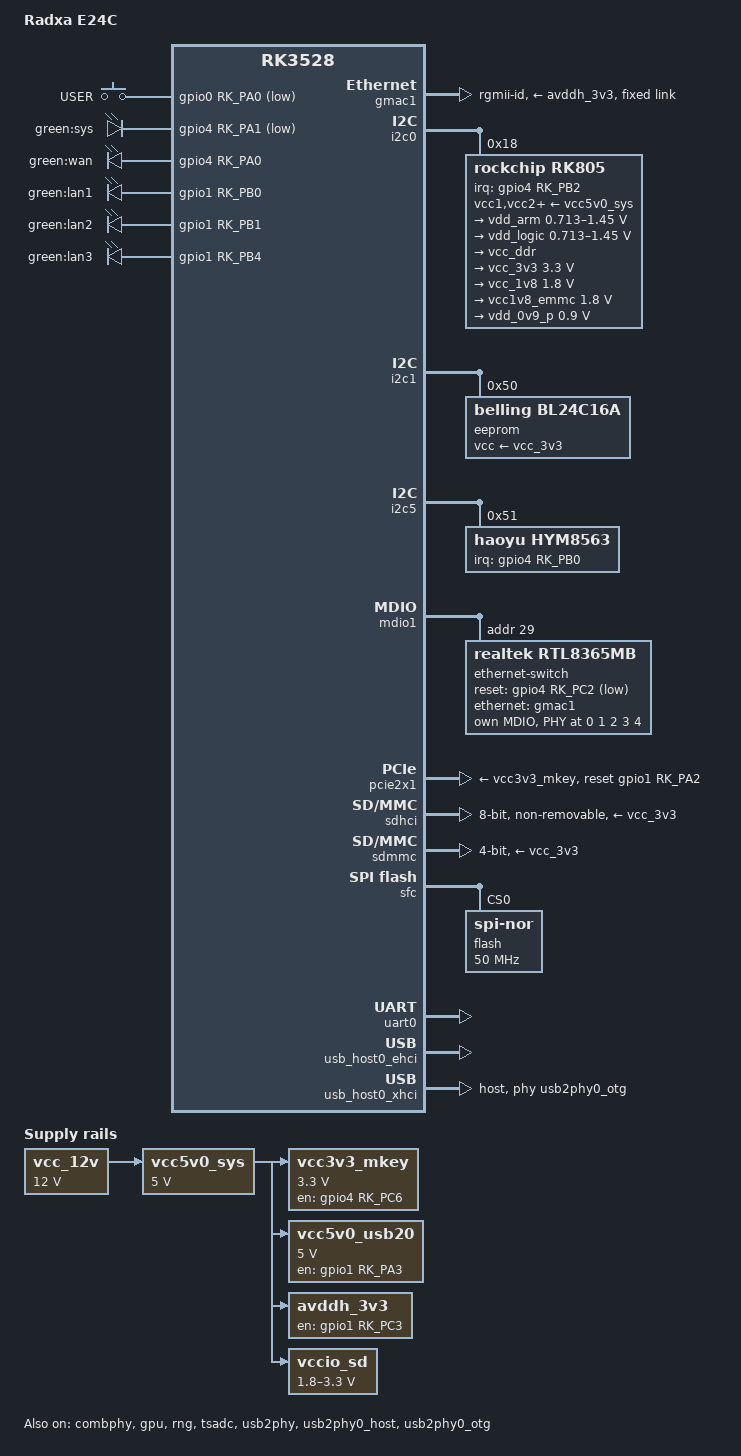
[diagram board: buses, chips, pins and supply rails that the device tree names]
// SPDX-License-Identifier: (GPL-2.0+ OR MIT)

/dts-v1/;

#include <dt-bindings/gpio/gpio.h>
#include <dt-bindings/input/input.h>
#include <dt-bindings/leds/common.h>
#include "rk3528.dtsi"

/ {
	model = "Radxa E24C";
	compatible = "radxa,e24c", "rockchip,rk3528";

	aliases {
		ethernet0 = &gmac1;
		mmc0 = &sdhci;
		mmc1 = &sdmmc;
		rtc0 = &hym8563;

		led-boot = &status_led;
		led-failsafe = &status_led;
		led-running = &status_led;
		led-upgrade = &status_led;
	};

	chosen {
		stdout-path = "serial0:1500000n8";
	};

	gpio-keys {
		compatible = "gpio-keys";
		pinctrl-names = "default";
		pinctrl-0 = <&gpio0_a0_user>;

		button-user {
			label = "USER";
			linux,code = <KEY_RESTART>;
			gpios = <&gpio0 RK_PA0 GPIO_ACTIVE_LOW>;
			wakeup-source;
		};
	};

	leds {
		compatible = "gpio-leds";

		status_led: led-0 {
			label = "green:sys";
			gpios = <&gpio4 RK_PA1 GPIO_ACTIVE_LOW>;
			pinctrl-names = "default";
			pinctrl-0 = <&sys_led_g>;
		};

		led-1 {
			label = "green:wan";
			linux,default-trigger = "netdev";
			gpios = <&gpio4 RK_PA0 GPIO_ACTIVE_HIGH>;
			pinctrl-names = "default";
			pinctrl-0 = <&wan_led_g>;
		};

		led-2 {
			label = "green:lan1";
			linux,default-trigger = "netdev";
			gpios = <&gpio1 RK_PB0 GPIO_ACTIVE_HIGH>;
			pinctrl-names = "default";
			pinctrl-0 = <&lan1_led_g>;
		};

		led-3 {
			label = "green:lan2";
			linux,default-trigger = "netdev";
			gpios = <&gpio1 RK_PB1 GPIO_ACTIVE_HIGH>;
			pinctrl-names = "default";
			pinctrl-0 = <&lan2_led_g>;
		};

		led-4 {
			label = "green:lan3";
			linux,default-trigger = "netdev";
			gpios = <&gpio1 RK_PB4 GPIO_ACTIVE_HIGH>;
			pinctrl-names = "default";
			pinctrl-0 = <&lan3_led_g>;
		};
	};

	vcc_12v: regulator-12v0-vcc {
		compatible = "regulator-fixed";
		regulator-name = "vcc_12v";
		regulator-always-on;
		regulator-boot-on;
		regulator-min-microvolt = <12000000>;
		regulator-max-microvolt = <12000000>;
	};

	vcc3v3_mkey: regulator-3v3-vcc-mkey {
		compatible = "regulator-fixed";
		enable-active-high;
		gpios = <&gpio4 RK_PC6 GPIO_ACTIVE_HIGH>;
		pinctrl-names = "default";
		pinctrl-0 = <&mkey_pwr_en>;
		regulator-name = "vcc3v3_mkey";
		regulator-min-microvolt = <3300000>;
		regulator-max-microvolt = <3300000>;
		vin-supply = <&vcc5v0_sys>;
	};

	vcc5v0_sys: regulator-5v0-vcc-sys {
		compatible = "regulator-fixed";
		regulator-name = "vcc5v0_sys";
		regulator-always-on;
		regulator-boot-on;
		regulator-min-microvolt = <5000000>;
		regulator-max-microvolt = <5000000>;
		vin-supply = <&vcc_12v>;
	};

	vcc5v0_usb20: regulator-5v0-vcc-usb20 {
		compatible = "regulator-fixed";
		enable-active-high;
		gpios = <&gpio1 RK_PA3 GPIO_ACTIVE_HIGH>;
		pinctrl-names = "default";
		pinctrl-0 = <&usb_host_en>;
		regulator-name = "vcc5v0_usb20";
		regulator-min-microvolt = <5000000>;
		regulator-max-microvolt = <5000000>;
		vin-supply = <&vcc5v0_sys>;
	};

	avddh_3v3: regulator-avdd-3v3 {
		compatible = "regulator-fixed";
		enable-active-high;
		gpios = <&gpio1 RK_PC3 GPIO_ACTIVE_HIGH>;
		pinctrl-names = "default";
		pinctrl-0 = <&gpio_8367_en>;
		regulator-name = "avddh_3v3";
		startup-delay-us = <10000>;
		vin-supply = <&vcc5v0_sys>;
	};

	vccio_sd: regulator-vccio-sd {
		compatible = "regulator-gpio";
		gpios = <&gpio4 RK_PB6 GPIO_ACTIVE_HIGH>;
		pinctrl-names = "default";
		pinctrl-0 = <&sdmmc_vol_ctrl_h>;
		regulator-name = "vccio_sd";
		regulator-min-microvolt = <1800000>;
		regulator-max-microvolt = <3300000>;
		states = <1800000 0x0>, <3300000 0x1>;
		vin-supply = <&vcc5v0_sys>;
	};
};

&combphy {
	status = "okay";
};

&cpu0 {
	cpu-supply = <&vdd_arm>;
};

&cpu1 {
	cpu-supply = <&vdd_arm>;
};

&cpu2 {
	cpu-supply = <&vdd_arm>;
};

&cpu3 {
	cpu-supply = <&vdd_arm>;
};

&gmac1 {
	/delete-property/ snps,tso;
	clock_in_out = "output";
	phy-mode = "rgmii-id";
	phy-supply = <&avddh_3v3>;
	pinctrl-names = "default";
	pinctrl-0 = <&rgmii_miim
		     &rgmii_tx_bus2
		     &rgmii_rx_bus2
		     &rgmii_rgmii_clk
		     &rgmii_rgmii_bus>;
	status = "okay";

	fixed-link {
		speed = <1000>;
		full-duplex;
	};
};

&gpu {
	mali-supply = <&vdd_logic>;
	status = "okay";
};

&i2c0 {
	pinctrl-names = "default";
	pinctrl-0 = <&i2c0m0_xfer>;
	status = "okay";

	rk805: pmic@18 {
		compatible = "rockchip,rk805";
		reg = <0x18>;
		interrupt-parent = <&gpio4>;
		interrupts = <RK_PB2 IRQ_TYPE_LEVEL_LOW>;
		#clock-cells = <1>;
		gpio-controller;
		#gpio-cells = <2>;
		pinctrl-names = "default";
		pinctrl-0 = <&pmic_int>;
		system-power-controller;
		wakeup-source;

		vcc1-supply = <&vcc5v0_sys>;
		vcc2-supply = <&vcc5v0_sys>;
		vcc3-supply = <&vcc5v0_sys>;
		vcc4-supply = <&vcc5v0_sys>;
		vcc5-supply = <&vcc5v0_sys>;
		vcc6-supply = <&vcc5v0_sys>;

		regulators {
			vdd_arm: DCDC_REG1 {
				regulator-name = "vdd_arm";
				regulator-always-on;
				regulator-boot-on;
				regulator-min-microvolt = <712500>;
				regulator-max-microvolt = <1450000>;
				regulator-ramp-delay = <12500>;

				regulator-state-mem {
					regulator-on-in-suspend;
				};
			};

			vdd_logic: DCDC_REG2 {
				regulator-name = "vdd_logic";
				regulator-always-on;
				regulator-boot-on;
				regulator-min-microvolt = <712500>;
				regulator-max-microvolt = <1450000>;
				regulator-ramp-delay = <12500>;

				regulator-state-mem {
					regulator-on-in-suspend;
				};
			};

			vcc_ddr: DCDC_REG3 {
				regulator-name = "vcc_ddr";
				regulator-always-on;
				regulator-boot-on;

				regulator-state-mem {
					regulator-on-in-suspend;
				};
			};

			vcc_3v3: DCDC_REG4 {
				regulator-name = "vcc_3v3";
				regulator-always-on;
				regulator-boot-on;
				regulator-min-microvolt = <3300000>;
				regulator-max-microvolt = <3300000>;

				regulator-state-mem {
					regulator-on-in-suspend;
					regulator-suspend-microvolt = <3300000>;
				};
			};

			vcc_1v8: LDO_REG1 {
				regulator-name = "vcc_1v8";
				regulator-always-on;
				regulator-boot-on;
				regulator-min-microvolt = <1800000>;
				regulator-max-microvolt = <1800000>;

				regulator-state-mem {
					regulator-on-in-suspend;
					regulator-suspend-microvolt = <1800000>;
				};
			};

			vcc1v8_emmc: LDO_REG2 {
				regulator-name = "vcc1v8_emmc";
				regulator-always-on;
				regulator-boot-on;
				regulator-min-microvolt = <1800000>;
				regulator-max-microvolt = <1800000>;

				regulator-state-mem {
					regulator-on-in-suspend;
					regulator-suspend-microvolt = <1800000>;
				};
			};

			vdd_0v9_p: LDO_REG3 {
				regulator-name = "vdd_0v9_p";
				regulator-always-on;
				regulator-boot-on;
				regulator-min-microvolt = <900000>;
				regulator-max-microvolt = <900000>;

				regulator-state-mem {
					regulator-on-in-suspend;
					regulator-suspend-microvolt = <900000>;
				};
			};
		};
	};
};

&i2c1 {
	pinctrl-names = "default";
	pinctrl-0 = <&i2c1m0_xfer>;
	status = "okay";

	eeprom@50 {
		compatible = "belling,bl24c16a", "atmel,24c16";
		#address-cells = <1>;
		#size-cells = <1>;
		reg = <0x50>;
		pagesize = <16>;
		read-only;
		vcc-supply = <&vcc_3v3>;

		nvmem-layout {
			compatible = "fixed-layout";
			#address-cells = <1>;
			#size-cells = <1>;

			eth_mac0: macaddr@9e {
				reg = <0x9e 0x06>;
			};

			eth_mac1: macaddr@a4 {
				reg = <0xa4 0x06>;
			};

			eth_mac2: macaddr@aa {
				reg = <0xaa 0x06>;
			};

			eth_mac3: macaddr@b0 {
				reg = <0xb0 0x06>;
			};
		};
	};
};

&i2c5 {
	pinctrl-names = "default";
	pinctrl-0 = <&i2c5m0_xfer>;
	status = "okay";

	hym8563: rtc@51 {
		compatible = "haoyu,hym8563";
		reg = <0x51>;
		#clock-cells = <0>;
		interrupt-parent = <&gpio4>;
		interrupts = <RK_PB0 IRQ_TYPE_LEVEL_LOW>;
		pinctrl-names = "default";
		pinctrl-0 = <&rtc_int_l>;
		wakeup-source;
	};
};

&mdio1 {
	ethernet-switch@29 {
		compatible = "realtek,rtl8365mb";
		reg = <29>;
		reset-gpios = <&gpio4 RK_PC2 GPIO_ACTIVE_LOW>;
		pinctrl-names = "default";
		pinctrl-0 = <&gmac1_rstn_l>;

		switch_intc: interrupt-controller {
			interrupt-parent = <&gpio1>;
			interrupts = <RK_PC2 IRQ_TYPE_LEVEL_LOW>;
			interrupt-controller;
			#address-cells = <0>;
			#interrupt-cells = <1>;
		};

		mdio {
			#address-cells = <1>;
			#size-cells = <0>;

			phy0: ethernet-phy@0 {
				reg = <0>;
				interrupt-parent = <&switch_intc>;
				interrupts = <0>;
			};

			phy1: ethernet-phy@1 {
				reg = <1>;
				interrupt-parent = <&switch_intc>;
				interrupts = <1>;
			};

			phy2: ethernet-phy@2 {
				reg = <2>;
				interrupt-parent = <&switch_intc>;
				interrupts = <2>;
			};

			phy3: ethernet-phy@3 {
				reg = <3>;
				interrupt-parent = <&switch_intc>;
				interrupts = <3>;
			};

			phy4: ethernet-phy@4 {
				reg = <4>;
				interrupt-parent = <&switch_intc>;
				interrupts = <4>;
			};
		};

		ethernet-ports {
			#address-cells = <1>;
			#size-cells = <0>;

			ethernet-port@0 {
				reg = <0>;
				label = "wan";
				phy-handle = <&phy0>;
				nvmem-cells = <&eth_mac0>;
				nvmem-cell-names = "mac-address";
			};

			ethernet-port@1 {
				reg = <1>;
				label = "lan1";
				phy-handle = <&phy1>;
				nvmem-cells = <&eth_mac1>;
				nvmem-cell-names = "mac-address";
			};

			ethernet-port@2 {
				reg = <2>;
				label = "lan2";
				phy-handle = <&phy2>;
				nvmem-cells = <&eth_mac2>;
				nvmem-cell-names = "mac-address";
			};

			ethernet-port@3 {
				reg = <3>;
				label = "lan3";
				phy-handle = <&phy3>;
				nvmem-cells = <&eth_mac3>;
				nvmem-cell-names = "mac-address";
			};

			ethernet-port@6 {
				reg = <6>;
				ethernet = <&gmac1>;
				phy-mode = "rgmii-id";
				rx-internal-delay-ps = <2000>;
				tx-internal-delay-ps = <2000>;

				fixed-link {
					speed = <1000>;
					full-duplex;
				};
			};
		};
	};
};

&pcie2x1 {
	pinctrl-names = "default";
	pinctrl-0 = <&pciem1_pins>;
	reset-gpios = <&gpio1 RK_PA2 GPIO_ACTIVE_HIGH>;
	vpcie3v3-supply = <&vcc3v3_mkey>;
	status = "okay";
};

&pinctrl {
	ethernet {
		gmac1_rstn_l: gmac1-rstn-l {
			rockchip,pins = <4 RK_PC2 RK_FUNC_GPIO &pcfg_pull_none>;
		};

		gpio_8367_en: gpio-8367-en {
			rockchip,pins = <1 RK_PC3 RK_FUNC_GPIO &pcfg_pull_none>;
		};

		rtl8367rb_eint: rtl8367rb-eint {
			rockchip,pins = <1 RK_PC2 RK_FUNC_GPIO &pcfg_pull_up>;
		};
	};

	gpio-keys {
		gpio0_a0_user: gpio0-a0-user {
			rockchip,pins = <0 RK_PA0 RK_FUNC_GPIO &pcfg_pull_up>;
		};
	};

	leds {
		lan1_led_g: lan1-led-g {
			rockchip,pins = <1 RK_PB0 RK_FUNC_GPIO &pcfg_pull_none>;
		};

		lan2_led_g: lan2-led-g {
			rockchip,pins = <1 RK_PB1 RK_FUNC_GPIO &pcfg_pull_none>;
		};

		lan3_led_g: lan3-led-g {
			rockchip,pins = <1 RK_PB4 RK_FUNC_GPIO &pcfg_pull_none>;
		};

		sys_led_g: sys-led-g {
			rockchip,pins = <4 RK_PA1 RK_FUNC_GPIO &pcfg_pull_none>;
		};

		wan_led_g: wan-led-g {
			rockchip,pins = <4 RK_PA0 RK_FUNC_GPIO &pcfg_pull_none>;
		};
	};

	pcie {
		mkey_pwr_en: mkey-pwr-en {
			rockchip,pins = <4 RK_PC6 RK_FUNC_GPIO &pcfg_pull_none>;
		};
	};

	pmic {
		pmic_int: pmic-int {
			rockchip,pins = <4 RK_PB2 RK_FUNC_GPIO &pcfg_pull_up>;
		};
	};

	rtc {
		rtc_int_l: rtc-int-l {
			rockchip,pins = <4 RK_PB0 RK_FUNC_GPIO &pcfg_pull_up>;
		};
	};

	sdmmc {
		sdmmc_vol_ctrl_h: sdmmc-vol-ctrl-h {
			rockchip,pins = <4 RK_PB6 RK_FUNC_GPIO &pcfg_pull_none>;
		};
	};

	usb {
		usb_host_en: usb-host-en {
			rockchip,pins = <1 RK_PA3 RK_FUNC_GPIO &pcfg_pull_none>;
		};
	};
};

&rng {
	status = "okay";
};

&sdhci {
	bus-width = <8>;
	cap-mmc-highspeed;
	mmc-hs200-1_8v;
	non-removable;
	vmmc-supply = <&vcc_3v3>;
	vqmmc-supply = <&vcc1v8_emmc>;
	status = "okay";
};

&sdmmc {
	bus-width = <4>;
	cap-mmc-highspeed;
	cap-sd-highspeed;
	disable-wp;
	sd-uhs-sdr104;
	vmmc-supply = <&vcc_3v3>;
	vqmmc-supply = <&vccio_sd>;
	status = "okay";
};

&sfc {
	pinctrl-names = "default";
	pinctrl-0 = <&fspi_csn0>, <&fspi_pins>;
	status = "okay";

	flash@0 {
		compatible = "jedec,spi-nor";
		reg = <0>;
		spi-max-frequency = <50000000>;
		spi-rx-bus-width = <4>;
		spi-tx-bus-width = <1>;
	};
};

&tsadc {
	status = "okay";
};

&uart0 {
	pinctrl-names = "default";
	pinctrl-0 = <&uart0m0_xfer>;
	status = "okay";
};

&usb2phy {
	status = "okay";
};

&usb2phy0_host {
	phy-supply = <&vcc5v0_usb20>;
	status = "okay";
};

&usb2phy0_otg {
	status = "okay";
};

&usb_host0_ehci {
	status = "okay";
};

&usb_host0_xhci {
	dr_mode = "host";
	maximum-speed = "high-speed";
	phys = <&usb2phy0_otg>;
	phy-names = "usb2-phy";
	status = "okay";
};
